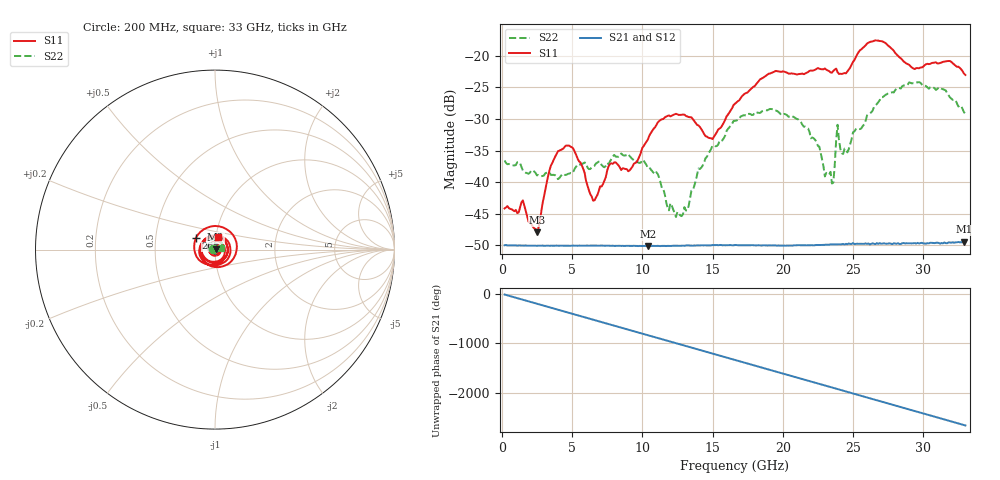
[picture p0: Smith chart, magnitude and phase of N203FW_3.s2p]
# GHZ S RI R 50
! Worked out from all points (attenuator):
!   329 points, 200 MHz to 33 GHz, reference 50 ohm
!   highest |S21| = -49.42 dB at 32.9 GHz (marker M1); lowest = -50.1 dB at 10.4 GHz (marker M2)
!   lowest |S11| = -47.9 dB at 2.5 GHz (marker M3), VSWR 1.01, Z = 50.4 + j0.195 ohm
!   |S11| at or under -10 dB: start of sweep to end of sweep
!   |S22| runs from -45.5 to -24.2 dB; largest |S21 - S12| = 8.8e-05
!   S11 on the Smith chart (normalised r, x): 200 MHz: 1.01, +0.00; 26 GHz: 0.80, +0.10; 33 GHz: 1.03, +0.14
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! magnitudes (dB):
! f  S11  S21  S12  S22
! 200 MHz  -44.1  -50.0  -49.9  -36.6
! 1.5 GHz  -42.9  -50.0  -50.0  -38.1
! 2.5 GHz  -47.9  -50.1  -50.0  -38.9
! 4 GHz  -35.1  -50.0  -50.0  -39.5
! 5.7 GHz  -37.4  -50.0  -50.0  -37.1
! 6.6 GHz  -42.9  -50.0  -50.0  -37.4
! 7.7 GHz  -37.1  -50.0  -50.0  -36.7
! 9.1 GHz  -38.1  -50.1  -50.1  -35.9
! 10.4 GHz  -33.2  -50.1  -50.1  -37.8
! 11.2 GHz  -30.3  -50.1  -50.1  -39.3
! 12.8 GHz  -29.4  -50.0  -50.0  -45.4
! 15 GHz  -33.2  -49.9  -49.9  -34.2
! 16.6 GHz  -27.6  -49.9  -49.9  -30.3
! 19.3 GHz  -22.6  -50.0  -50.0  -28.5
! 22.1 GHz  -22.4  -50.0  -49.9  -32.9
! 23.5 GHz  -22.7  -49.8  -49.8  -40.2
! 23.9 GHz  -22.6  -49.8  -49.8  -30.9
! 24.3 GHz  -22.8  -49.8  -49.7  -35.5
! 26 GHz  -18.1  -49.8  -49.7  -29.4
! 27.6 GHz  -18.6  -49.7  -49.7  -25.9
! 32.9 GHz  -22.8  -49.4  -49.4  -28.9
! 33 GHz  -23.1  -49.4  -49.5  -29.2
